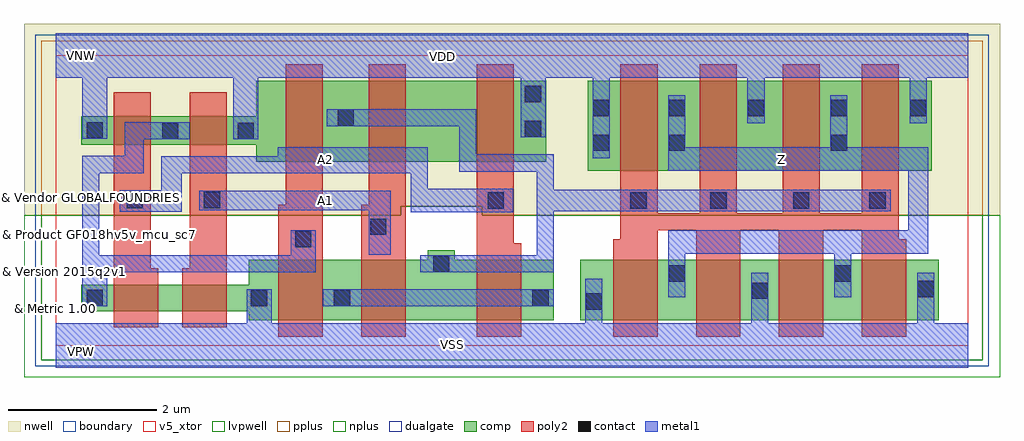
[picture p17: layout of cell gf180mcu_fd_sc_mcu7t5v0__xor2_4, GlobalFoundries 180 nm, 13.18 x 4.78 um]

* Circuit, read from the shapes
.subckt gf180mcu_fd_sc_mcu7t5v0__xor2_4 A1 A2 VDD VNW VSS Z
XM1 n1 A2 n2 VSUBS nfet_05v0 w=0.36u l=0.6u
XM2 VSS A1 n1 VSUBS nfet_05v0 w=0.36u l=0.6u
XM3 n3 n2 VSS VSUBS nfet_05v0 w=0.82u l=0.6u
XM4 n4 A1 n3 VSUBS nfet_05v0 w=0.82u l=0.6u
XM5 n3 A2 n4 VSUBS nfet_05v0 w=0.82u l=0.6u
XM6 Z n4 VSS VSUBS nfet_05v0 w=0.82u l=0.6u m=4
XM7 n2 A2 VDD VNW pfet_05v0 w=0.385u l=0.5u
XM8 VDD A1 n2 VNW pfet_05v0 w=0.385u l=0.5u
XM9 n4 n2 VDD VNW pfet_05v0 w=1.095u l=0.5u
XM10 n5 A1 n4 VNW pfet_05v0 w=1.095u l=0.5u
XM11 VDD A2 n5 VNW pfet_05v0 w=1.095u l=0.5u
XM12 Z n4 VDD VNW pfet_05v0 w=1.22u l=0.5u m=4
.ends

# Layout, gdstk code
import gdstk
lib = gdstk.Library(unit=1e-6, precision=1e-09)
def R(c, l, rs):  # rectangles x0, y0, x1, y1
    for r in rs: c.add(gdstk.rectangle(r[:2], r[2:], *l))
def P(c, l, *ps):  # polygons
    for p in ps: c.add(gdstk.Polygon(p, *l))
boundary = (0, 0)
nwell = (21, 0)
comp = (22, 0)
poly2 = (30, 0)
pplus = (31, 0)
nplus = (32, 0)
contact = (33, 0)
metal1 = (34, 0)
dualgate = (55, 0)
v5_xtor = (112, 1)
lvpwell = (204, 0)

gf180mcu_fd_sc_mcu7t5v0_ = lib.new_cell('gf180mcu_fd_sc_mcu7t5v0__xor2_4')
R(gf180mcu_fd_sc_mcu7t5v0_, boundary, [(0,0,12.32,3.92)])
P(gf180mcu_fd_sc_mcu7t5v0_, nwell, [(-0.43,1.76),(-0.43,4.35),(12.75,4.35),(12.75,1.76),(5.755,1.76),(5.755,1.885),(4.655,1.885),(4.655,1.76)])
R(gf180mcu_fd_sc_mcu7t5v0_, comp, [(7.085,0.34,11.925,1.16), (7.185,2.36,11.825,3.58)])
P(gf180mcu_fd_sc_mcu7t5v0_, comp, [(2.705,2.485),(2.705,2.715),(0.345,2.715),(0.345,3.1),(2.705,3.1),(2.705,3.58),(6.625,3.58),(6.625,2.485)],
  [(2.605,0.34),(2.605,0.465),(0.345,0.465),(0.345,0.825),(2.605,0.825),(2.605,1.16),(5.025,1.16),(5.025,1.285),(5.385,1.285),(5.385,1.16),(6.725,1.16),(6.725,0.34)])
P(gf180mcu_fd_sc_mcu7t5v0_, poly2, [(0.785,0.245),(0.785,3.42),(1.285,3.42),(1.285,1.045),(1.385,1.045),(1.385,0.245)],
  [(1.705,0.245),(1.705,1.045),(1.805,1.045),(1.805,3.42),(2.305,3.42),(2.305,0.245)],
  [(3.005,0.12),(3.005,1.905),(3.105,1.905),(3.105,3.8),(3.605,3.8),(3.605,0.12)],
  [(4.125,0.12),(4.125,1.905),(4.225,1.905),(4.225,3.8),(4.725,3.8),(4.725,0.12)],
  [(5.685,0.12),(5.685,3.8),(6.185,3.8),(6.185,1.38),(6.285,1.38),(6.285,0.12)],
  [(7.525,0.12),(7.525,1.44),(7.625,1.44),(7.625,3.8),(8.125,3.8),(8.125,1.785),(8.695,1.785),(8.695,3.8),(9.195,3.8),(9.195,1.785),(9.815,1.785),(9.815,3.8),(10.315,3.8),(10.315,1.785),(10.885,1.785),(10.885,3.8),(11.385,3.8),(11.385,1.44),(11.485,1.44),(11.485,0.12),(10.885,0.12),(10.885,1.555),(10.365,1.555),(10.365,0.12),(9.765,0.12),(9.765,1.555),(9.245,1.555),(9.245,0.12),(8.645,0.12),(8.645,1.555),(8.125,1.555),(8.125,0.12)])
P(gf180mcu_fd_sc_mcu7t5v0_, pplus, [(-0.2,1.76),(-0.2,4.12),(12.52,4.12),(12.52,1.76),(5.755,1.76),(5.755,1.885),(4.655,1.885),(4.655,1.76)])
P(gf180mcu_fd_sc_mcu7t5v0_, nplus, [(-0.2,-0.2),(-0.2,1.76),(4.655,1.76),(4.655,1.885),(5.755,1.885),(5.755,1.76),(12.52,1.76),(12.52,-0.2)])
R(gf180mcu_fd_sc_mcu7t5v0_, contact, [(7.155,0.485,7.375,0.705), (0.415,0.535,0.635,0.755), (2.635,0.535,2.855,0.755), (3.755,0.535,3.975,0.755), (6.435,0.535,6.655,0.755), (9.395,0.63,9.615,0.85), (11.635,0.655,11.855,0.875), (8.275,0.865,8.495,1.085), (10.515,0.865,10.735,1.085), (5.095,0.995,5.315,1.215), (3.23,1.33,3.45,1.55), (4.245,1.495,4.465,1.715), (5.83,1.85,6.05,2.07), (7.76,1.85,7.98,2.07), (8.84,1.85,9.06,2.07), (9.955,1.85,10.175,2.07), (10.985,1.85,11.205,2.07), (0.955,1.855,1.175,2.075), (2,1.855,2.22,2.075), (7.255,2.63,7.475,2.85), (8.275,2.63,8.495,2.85), (10.465,2.63,10.685,2.85), (1.435,2.79,1.655,3.01), (2.455,2.79,2.675,3.01), (0.415,2.8,0.635,3.02), (6.335,2.82,6.555,3.04), (3.805,2.97,4.025,3.19), (7.255,3.1,7.475,3.32), (8.275,3.1,8.495,3.32), (9.345,3.1,9.565,3.32), (10.465,3.1,10.685,3.32), (11.535,3.1,11.755,3.32), (6.335,3.29,6.555,3.51)])
R(gf180mcu_fd_sc_mcu7t5v0_, metal1, [(3.605,0.53,6.725,0.76)])
P(gf180mcu_fd_sc_mcu7t5v0_, metal1, [(0.355,0.53),(0.355,2.565),(0.93,2.565),(0.93,3.015),(1.805,3.015),(1.805,2.785),(1.19,2.785),(1.19,2.33),(0.585,2.33),(0.585,1.22),(3.17,1.22),(3.17,1.555),(3.51,1.555),(3.51,0.99),(0.695,0.99),(0.695,0.53)],
  [(4.225,1.23),(4.225,1.825),(1.935,1.825),(1.935,2.095),(4.525,2.095),(4.525,1.23)],
  [(4.795,1.8),(4.795,2.325),(1.7,2.325),(1.7,1.81),(0.86,1.81),(0.86,2.1),(1.425,2.1),(1.425,2.555),(3,2.555),(3,2.68),(5.025,2.68),(5.025,2.12),(6.18,2.12),(6.18,1.8)],
  [(4.92,0.99),(4.92,1.22),(6.495,1.22),(6.495,2.35),(5.45,2.35),(5.45,2.965),(3.66,2.965),(3.66,3.195),(5.68,3.195),(5.68,2.585),(6.725,2.585),(6.725,2.105),(11.275,2.105),(11.275,1.815),(6.725,1.815),(6.725,0.99)],
  [(8.27,0.655),(8.27,1.56),(11.51,1.56),(11.51,2.36),(8.27,2.36),(8.27,3.38),(8.5,3.38),(8.5,2.68),(10.46,2.68),(10.46,3.38),(10.69,3.38),(10.69,2.68),(11.78,2.68),(11.78,1.24),(10.74,1.24),(10.74,0.655),(10.51,0.655),(10.51,1.24),(8.5,1.24),(8.5,0.655)],
  [(0,-0.3),(0,0.3),(2.575,0.3),(2.575,0.76),(2.915,0.76),(2.915,0.3),(7.15,0.3),(7.15,0.905),(7.38,0.905),(7.38,0.3),(9.39,0.3),(9.39,0.985),(9.62,0.985),(9.62,0.3),(11.63,0.3),(11.63,0.985),(11.86,0.985),(11.86,0.3),(12.32,0.3),(12.32,-0.3)],
  [(7.25,2.53),(7.25,3.62),(6.615,3.62),(6.615,2.815),(6.275,2.815),(6.275,3.62),(2.735,3.62),(2.735,2.785),(2.395,2.785),(2.395,3.62),(0.695,3.62),(0.695,2.795),(0.355,2.795),(0.355,3.62),(0,3.62),(0,4.22),(12.32,4.22),(12.32,3.62),(11.76,3.62),(11.76,3),(11.53,3),(11.53,3.62),(9.57,3.62),(9.57,3),(9.34,3),(9.34,3.62),(7.48,3.62),(7.48,2.53)])
R(gf180mcu_fd_sc_mcu7t5v0_, dualgate, [(-0.28,-0.28,12.6,4.2)])
R(gf180mcu_fd_sc_mcu7t5v0_, v5_xtor, [(0,0,12.32,3.92)])
P(gf180mcu_fd_sc_mcu7t5v0_, lvpwell, [(-0.43,-0.43),(-0.43,1.76),(4.655,1.76),(4.655,1.885),(5.755,1.885),(5.755,1.76),(12.75,1.76),(12.75,-0.43)])
gf180mcu_fd_sc_mcu7t5v0_.add(gdstk.Label('VDD', (5.225,3.905), layer=34, texttype=10))
gf180mcu_fd_sc_mcu7t5v0_.add(gdstk.Label('VSS', (5.355,0.015), layer=34, texttype=10))
gf180mcu_fd_sc_mcu7t5v0_.add(gdstk.Label('Z', (9.8,2.52), layer=34, texttype=10))
gf180mcu_fd_sc_mcu7t5v0_.add(gdstk.Label('A1', (3.64,1.96), layer=34, texttype=10))
gf180mcu_fd_sc_mcu7t5v0_.add(gdstk.Label('A2', (3.64,2.52), layer=34, texttype=10))
gf180mcu_fd_sc_mcu7t5v0_.add(gdstk.Label('& Vendor GLOBALFOUNDRIES', (0,2), layer=63, texttype=63))
gf180mcu_fd_sc_mcu7t5v0_.add(gdstk.Label('& Product GF018hv5v_mcu_sc7', (0,1.5), layer=63, texttype=63))
gf180mcu_fd_sc_mcu7t5v0_.add(gdstk.Label('& Version 2015q2v1', (0,1), layer=63, texttype=63))
gf180mcu_fd_sc_mcu7t5v0_.add(gdstk.Label('& Metric 1.00', (0,0.5), layer=63, texttype=63))
gf180mcu_fd_sc_mcu7t5v0_.add(gdstk.Label('VNW', (0.345,3.92), layer=21, texttype=10))
gf180mcu_fd_sc_mcu7t5v0_.add(gdstk.Label('VPW', (0.34,-0.085), layer=204, texttype=10))

lib.write_gds('gf180mcu_fd_sc_mcu7t5v0__xor2_4.gds')
